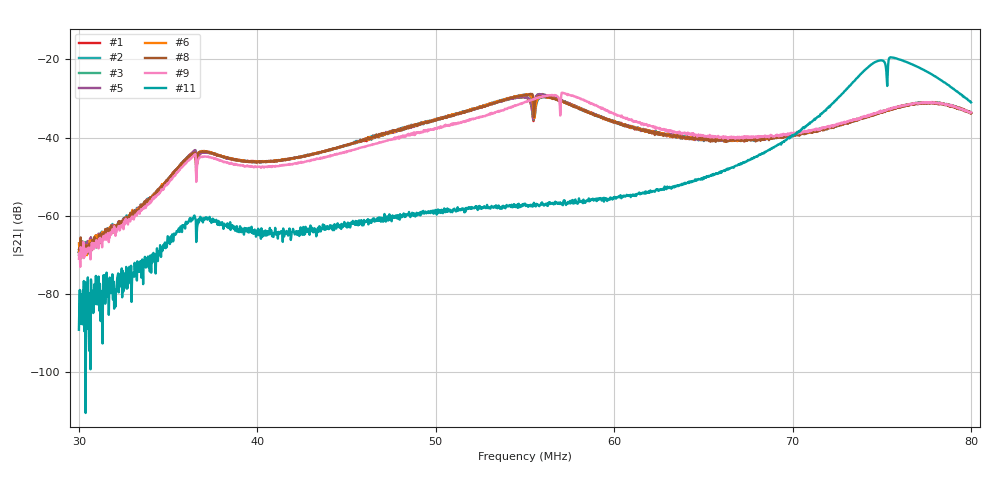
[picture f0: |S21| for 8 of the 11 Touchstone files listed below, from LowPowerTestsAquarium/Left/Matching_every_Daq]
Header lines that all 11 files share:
#  HZ  S  DB  R  50.00
! Rohde & Schwarz Vector Network Analyzer
! Rohde-Schwarz,ZNB8-4Port,1311601044102961,2.82
! freq[Hz]  db:S11  ang:S11  db:S12  ang:S12  db:S13  ang:S13  db:S14  ang:S14
!  db:S21  ang:S21  db:S22  ang:S22  db:S23  ang:S23  db:S24  ang:S24
!  db:S31  ang:S31  db:S32  ang:S32  db:S33  ang:S33  db:S34  ang:S34
!  db:S41  ang:S41  db:S42  ang:S42  db:S43  ang:S43  db:S44  ang:S44
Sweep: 30 MHz to 80 MHz
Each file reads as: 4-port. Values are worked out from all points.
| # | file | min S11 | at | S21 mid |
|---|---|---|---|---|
| 1 | IC3_Left_55p5MHz_DaqM08p0cm_1.s4p | -35.0 dB | 55.5 MHz | -29.7 dB at 55 MHz |
| 2 | IC3_Left_55p5MHz_DaqM08p0cm_3.s4p | -32.0 dB | 55.5 MHz | -29.1 dB at 55 MHz |
| 3 | IC3_Left_55p5MHz_DaqM09p0cm_1.s4p | -42.8 dB | 55.5 MHz | -29.7 dB at 55 MHz |
| 4 | IC3_Left_55p5MHz_DaqM09p0cm_3.s4p | -49.6 dB | 55.5 MHz | -29.1 dB at 55 MHz |
| 5 | IC3_Left_55p5MHz_DaqM10p0cm_1.s4p | -37.6 dB | 55.5 MHz | -29.6 dB at 55 MHz |
| 6 | IC3_Left_55p5MHz_DaqM10p0cm_3.s4p | -35.7 dB | 55.5 MHz | -29.1 dB at 55 MHz |
| 7 | IC3_Left_55p5MHz_DaqMLarge_1.s4p | -29.4 dB | 55.5 MHz | -29.4 dB at 55 MHz |
| 8 | IC3_Left_55p5MHz_DaqMLarge_3.s4p | -26.8 dB | 55.5 MHz | -29.2 dB at 55 MHz |
| 9 | IC3_Left_57p0MHz_DaqMLarge_1.s4p | -23.2 dB | 57 MHz | -30.9 dB at 55 MHz |
| 10 | IC3_Left_57p0MHz_DaqMLarge_3.s4p | -28.2 dB | 57 MHz | -31.0 dB at 55 MHz |
| 11 | IC3_Left_75p0MHz_DaqMLarge_1.s4p | -13.9 dB | 75.33 MHz | -56.9 dB at 55 MHz |
